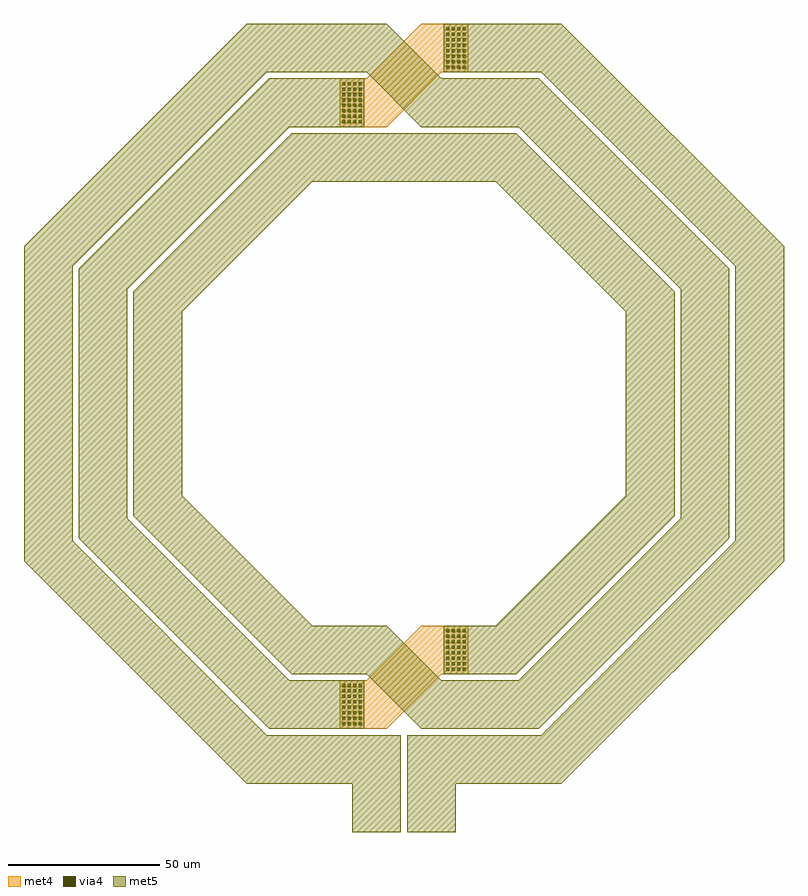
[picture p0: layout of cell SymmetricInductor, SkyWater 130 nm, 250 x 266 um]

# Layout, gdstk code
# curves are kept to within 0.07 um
import gdstk
lib = gdstk.Library(unit=1e-6, precision=1e-09)
def R(c, l, rs):  # rectangles x0, y0, x1, y1
    for r in rs: c.add(gdstk.rectangle(r[:2], r[2:], *l))
def A(c, l, x, y, w, h, nx, ny, dx, dy):  # array of equal rectangles
    R(c, l, [(x+i*dx, y+j*dy, x+i*dx+w, y+j*dy+h) for i in range(nx) for j in range(ny)])
def P(c, l, *ps):  # polygons
    for p in ps: c.add(gdstk.Polygon(p, *l))
met4 = (71, 20)
via4 = (71, 44)
met5 = (72, 20)

symmetricinductor = lib.new_cell('SymmetricInductor')
P(symmetricinductor, met4, [(-21.143,-91),(-21.143,-107.001),(-13.143,-107.001),(-5.687,-107.001),(12.315,-89),(13.143,-89),(21.143,-89),(21.143,-72.999),(13.143,-72.999),(5.687,-72.999),(-12.315,-91),(-13.143,-91)],
  [(-21.143,107),(-21.143,90.999),(-13.143,90.999),(-5.687,90.999),(12.315,109),(13.143,109),(21.143,109),(21.143,125.001),(13.143,125.001),(5.687,125.001),(-12.315,107),(-13.143,107)])
A(symmetricinductor, via4, -20.343, -105.801, 1.002, 1.002, 4, 8, 1.8, 1.8)
A(symmetricinductor, via4, 13.941, -87.801, 1.002, 1.002, 4, 8, 1.8, 1.8)
A(symmetricinductor, via4, -20.343, 92.199, 1.002, 1.002, 4, 8, 1.8, 1.8)
A(symmetricinductor, via4, 13.941, 110.199, 1.002, 1.002, 4, 8, 1.8, 1.8)
P(symmetricinductor, met5, [(-125.001,-51.777),(-51.777,-125.001),(-17.001,-125.001),(-17,-141.001),(-0.999,-141.001),(-0.999,-108.999),(-45.149,-109.001),(-109.001,-45.15),(-109.001,45.15),(-45.149,109.001),(-12.315,109),(5.687,90.999),(37.693,91.001),(91.001,37.694),(91.001,-37.694),(37.693,-91.001),(12.315,-91),(-5.687,-72.999),(-30.237,-73.001),(-73.001,-30.238),(-73.001,30.238),(-30.237,73.001),(30.237,73.001),(73.001,30.238),(73.001,-30.238),(30.237,-73.001),(13.142,-73.001),(13.142,-89.001),(36.865,-89.001),(89.001,-36.866),(89.001,36.866),(36.865,89.001),(-36.865,89.001),(-89.001,36.866),(-89.001,-36.866),(-36.865,-89.001),(-12.315,-89),(5.687,-107.001),(44.321,-107.001),(107.001,-44.321),(107.001,44.321),(44.321,107.001),(12.315,107),(-5.687,125.001),(-51.777,125.001),(-125.001,51.777)],
  [(-107.001,-44.321),(-44.321,-107.001),(-13.142,-107.001),(-13.142,-91.001),(-37.693,-91.001),(-91.001,-37.694),(-91.001,37.694),(-37.693,91.001),(-13.142,91.001),(-13.142,107.001),(-44.321,107.001),(-107.001,44.321)],
  [(0.999,-141.001),(17,-141.001),(17.001,-125.001),(51.777,-125.001),(125.001,-51.777),(125.001,51.777),(51.777,125.001),(13.142,125.001),(13.142,109.001),(45.149,109.001),(109.001,45.15),(109.001,-45.15),(45.149,-109.001),(0.999,-108.999)])

lib.write_gds('SymmetricInductor.gds')
